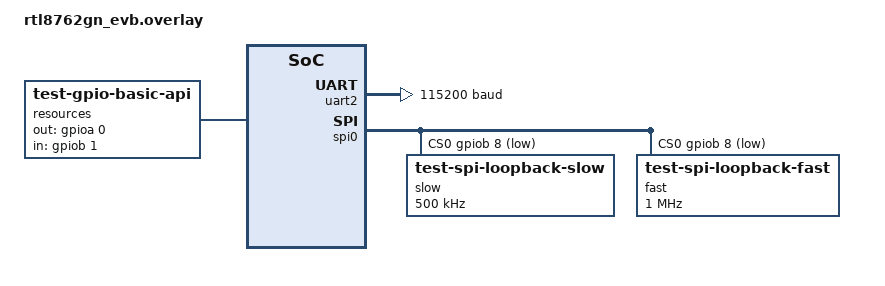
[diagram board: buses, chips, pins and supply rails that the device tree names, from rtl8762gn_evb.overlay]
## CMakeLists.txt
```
cmake_minimum_required(VERSION 3.20.0)

find_package(Zephyr REQUIRED HINTS $ENV{ZEPHYR_BASE})

project(honeygui)

add_subdirectory(driver)

target_sources(app PRIVATE app/main.c)

target_link_libraries(app PRIVATE reaktek_wearable_library)
target_link_libraries(app PRIVATE reaktek_display_driver_library)

target_link_options(app
    PUBLIC
        -Wl,--wrap,mac_EnterCritical_rom
        -Wl,--wrap,mac_ExitCritical_rom
        -Wl,--wrap,mac_RstRF_rom
        -Wl,--wrap,otPlatReset
)
```

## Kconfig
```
source "Kconfig.zephyr"

module = OT_COMMAND_LINE_INTERFACE
module-str = honygui
source "${ZEPHYR_BASE}/subsys/logging/Kconfig.template.log_config"
```

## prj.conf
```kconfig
#CONFIG_LOG=y
CONFIG_MAIN_STACK_SIZE=2048

# driver
CONFIG_REALTEK_MAC_802154=n
CONFIG_REALTEK_DISPLAY=y
CONFIG_DMA=y
CONFIG_HEAP_MEM_POOL_SIZE=512
CONFIG_SPI=y
CONFIG_GPIO=y
CONFIG_REALTEK_USING_SDK_LIB=y

# Network shell
CONFIG_SHELL=y
CONFIG_OPENTHREAD_SHELL=n
CONFIG_SHELL_ARGC_MAX=26
CONFIG_SHELL_CMD_BUFF_SIZE=416

# Generic networking options
CONFIG_NETWORKING=n
CONFIG_NET_PKT_TXTIME=n
CONFIG_NET_PKT_TIMESTAMP=n

#CONFIG_MBEDTLS_SHA1_C=n
CONFIG_FPU=y

CONFIG_GPIO_SHELL=y
```

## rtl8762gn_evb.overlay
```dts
/* Copyright (c) 2020 Nordic Semiconductor ASA
 *
 * SPDX-License-Identifier: LicenseRef-Nordic-5-Clause
 */
 
#include <zephyr/dt-bindings/gpio/realtek-rtl87x2g-gpio.h>

&flash {
	partitions {
		/delete-node/ partition@2d000;
		/delete-node/ partition@fc000;

		app_partition: partition@2d000 {
			label = "app-image";
			reg = <0x2D000 DT_SIZE_K(812)>;
		};
		storage_partition: partition@f8000 {
			label = "storage";
			reg = <0xF8000 DT_SIZE_K(32)>;
		};
	};
};


&uart2 {
	pinctrl-0 = <&uart2_default>;
	pinctrl-names = "default";
	status = "okay";
	current-speed = <115200>;
	parity = "none";
	stop-bits = "1";
	data-bits = <8>;
};

&gpioa {
    status = "okay";
};

&gpiob {
    status = "okay";
};

/ {
    resources {
        compatible = "test-gpio-basic-api";
        out-gpios = <&gpioa 0 GPIO_ACTIVE_HIGH>;
        in-gpios = <&gpiob 1 (GPIO_ACTIVE_HIGH | RTL87X2G_GPIO_INPUT_DEBOUNCE_MS(8))>;
    };
};

&dma0 {
    status = "okay";
};

&spi0 {
	status = "okay";
	pinctrl-0 = <&spi0_default>;
	pinctrl-names = "default";
	cs-gpios = <&gpiob 8 GPIO_ACTIVE_LOW>;
/* dma is optional
	dmas = <&dma0 6 17 0xa>, <&dma0 5 16 0x10021>;
	dma-names = "rx", "tx";
 */
	slow@0 {
		compatible = "test-spi-loopback-slow";
		reg = <0>;
		spi-max-frequency = <500000>;
	};
	fast@0 {
		compatible = "test-spi-loopback-fast";
		reg = <0>;
		spi-max-frequency = <1000000>;
	};
};

&pinctrl {
	spi0_default: spi0_default {
		group1 {
			psels = <RTL87X2G_PSEL(SPI0_CLK_MASTER, P4_0,DIR_OUT, DRV_HIGH, PULL_UP)>,
			<RTL87X2G_PSEL(SPI0_MO_MASTER, P4_1,DIR_OUT, DRV_HIGH, PULL_UP)>,
			<RTL87X2G_PSEL(SPI0_MI_MASTER, P4_2,DIR_OUT, DRV_HIGH, PULL_UP)>;
		};
	};
};

/
{

dummy_display: dummy_display {
	compatible = "bee4,st7701s";
	height = <100>;
	width = <100>;
	status = "okay";

};
};
```

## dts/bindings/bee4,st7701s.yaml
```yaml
# Copyright (c) 2021 Nordic Semiconductor ASA
# SPDX-License-Identifier: Apache-2.0

description: Dummy display controller

compatible: "bee4,st7701s"

include: display-controller.yaml
```

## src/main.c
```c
#include <zephyr/kernel.h>
#include <zephyr/shell/shell.h>
#include <version.h>
#include <zephyr/logging/log.h>
#include <stdlib.h>
#include <zephyr/drivers/uart.h>
#include <zephyr/usb/usb_device.h>
#include <ctype.h>

#ifdef CONFIG_ARCH_POSIX
#include <unistd.h>
#else
#include <zephyr/posix/unistd.h>
#endif

LOG_MODULE_REGISTER(app);

#include <trace.h>


int main(void)
{
	printf("Hollo HoneyGUI! \n");
	printf("Hollo HoneyGUI! \n");
	return 0;
}
```
